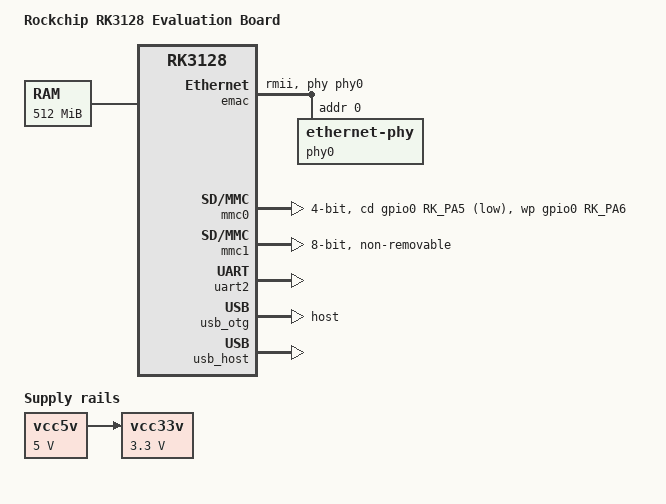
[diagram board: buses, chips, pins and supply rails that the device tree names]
/dts-v1/;
#include "rk3128.dtsi"

/ {
	model = "Rockchip RK3128 Evaluation Board";
	compatible = "rockchip,rk3128-evb", "rockchip,rk3128";

	aliases {
		serial0 = &uart2;
		ethernet0 = &emac;
	};

	chosen {
		stdout-path = "serial0:115200n8";
	};

	memory@60000000 {
		device_type = "memory";
		reg = <0x60000000 0x20000000>; // 512MB RAM 标准配置，RK3128通用
	};

	vcc5v: vcc5v-regulator {
		compatible = "regulator-fixed";
		regulator-name = "vcc5v";
		regulator-min-microvolt = <5000000>;
		regulator-max-microvolt = <5000000>;
		regulator-always-on;
		regulator-boot-on;
	};

	vcc33v: vcc33v-regulator {
		compatible = "regulator-fixed";
		regulator-name = "vcc33v";
		regulator-min-microvolt = <3300000>;
		regulator-max-microvolt = <3300000>;
		vin-supply = <&vcc5v>;
		regulator-always-on;
		regulator-boot-on;
	};
};

&emac {
	phy-mode = "rmii";
	phy-handle = <&phy0>;
	phy0: ethernet-phy@0 {
		reg = <0>;
	};
	pinctrl-names = "default";
	pinctrl-0 = <&emac_xfer>, <&emac_mdio>;
	status = "okay";
};

&mmc0 {
	bus-width = <4>;
	cd-gpios = <&gpio0 RK_PA5 GPIO_ACTIVE_LOW>;
	wp-gpios = <&gpio0 RK_PA6 GPIO_ACTIVE_HIGH>;
	max-frequency = <50000000>;
	cap-sd-highspeed;
	disable-wp;
	status = "okay";
};

&mmc1 {
	bus-width = <8>;
	max-frequency = <150000000>;
	cap-mmc-highspeed;
	mmc-hs200-1_8v;
	non-removable;
	status = "okay";
};

&uart2 {
	pinctrl-names = "default";
	pinctrl-0 = <&uart2_xfer>;
	status = "okay";
};

&usb_otg {
	dr_mode = "host";
	status = "okay";
};

&usb_host {
	status = "okay";
};

&gpio0 {
	status = "okay";
};

&gpio1 {
	status = "okay";
};

&gpio2 {
	status = "okay";
};

&gpio3 {
	status = "okay";
};
